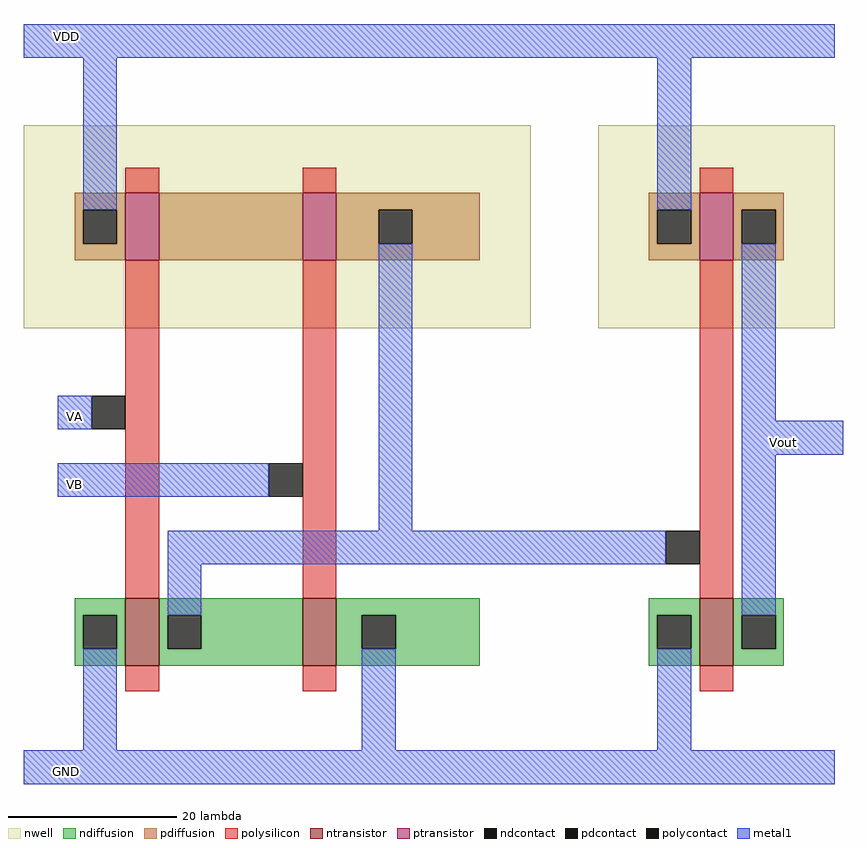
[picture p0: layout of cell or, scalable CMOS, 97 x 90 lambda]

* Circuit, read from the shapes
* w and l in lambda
.subckt or GND VA VB VDD Vout
M1 n1 VA GND VSUBS nfet w=8 l=4
M2 GND VB n1 VSUBS nfet w=8 l=4
M3 Vout n1 GND VSUBS nfet w=8 l=4
M4 n2 VA VDD n3 pfet w=8 l=4
M5 n1 VB n2 n3 pfet w=8 l=4
M6 Vout n1 VDD n4 pfet w=8 l=4
.ends

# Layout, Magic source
magic
tech scmos
<< nwell >>
rect 72 -6 132 18
rect 140 -6 168 18
<< ntransistor >>
rect 84 -46 88 -38
rect 105 -46 109 -38
rect 152 -46 156 -38
<< ptransistor >>
rect 84 2 88 10
rect 105 2 109 10
rect 152 2 156 10
<< ndiffusion >>
rect 78 -40 84 -38
rect 78 -44 79 -40
rect 83 -44 84 -40
rect 78 -46 84 -44
rect 88 -40 105 -38
rect 88 -44 89 -40
rect 93 -44 105 -40
rect 88 -46 105 -44
rect 109 -40 126 -38
rect 109 -44 112 -40
rect 116 -44 126 -40
rect 109 -46 126 -44
rect 146 -40 152 -38
rect 146 -44 147 -40
rect 151 -44 152 -40
rect 146 -46 152 -44
rect 156 -40 162 -38
rect 156 -44 157 -40
rect 161 -44 162 -40
rect 156 -46 162 -44
<< pdiffusion >>
rect 78 8 84 10
rect 78 4 79 8
rect 83 4 84 8
rect 78 2 84 4
rect 88 2 105 10
rect 109 8 126 10
rect 109 4 114 8
rect 118 4 126 8
rect 109 2 126 4
rect 146 8 152 10
rect 146 4 147 8
rect 151 4 152 8
rect 146 2 152 4
rect 156 8 162 10
rect 156 4 157 8
rect 161 4 162 8
rect 156 2 162 4
<< ndcontact >>
rect 79 -44 83 -40
rect 89 -44 93 -40
rect 112 -44 116 -40
rect 147 -44 151 -40
rect 157 -44 161 -40
<< pdcontact >>
rect 79 4 83 8
rect 114 4 118 8
rect 147 4 151 8
rect 157 4 161 8
<< polysilicon >>
rect 84 10 88 13
rect 105 10 109 13
rect 152 10 156 13
rect 84 -38 88 2
rect 105 -38 109 2
rect 152 -38 156 2
rect 84 -49 88 -46
rect 105 -49 109 -46
rect 152 -49 156 -46
<< polycontact >>
rect 80 -18 84 -14
rect 101 -26 105 -22
rect 148 -34 152 -30
<< metal1 >>
rect 72 26 168 30
rect 79 8 83 26
rect 147 8 151 26
rect 76 -18 80 -14
rect 76 -26 101 -22
rect 114 -30 118 4
rect 157 -17 161 4
rect 157 -21 169 -17
rect 89 -34 148 -30
rect 89 -40 93 -34
rect 157 -40 161 -21
rect 79 -56 83 -44
rect 112 -56 116 -44
rect 147 -56 151 -44
rect 72 -60 168 -56
<< labels >>
rlabel metal1 76 28 78 29 4 VDD
rlabel metal1 77 -17 79 -16 1 VA
rlabel metal1 76 -59 78 -58 2 GND
rlabel metal1 77 -25 79 -24 1 VB
rlabel metal1 161 -20 163 -19 1 Vout
<< end >>
